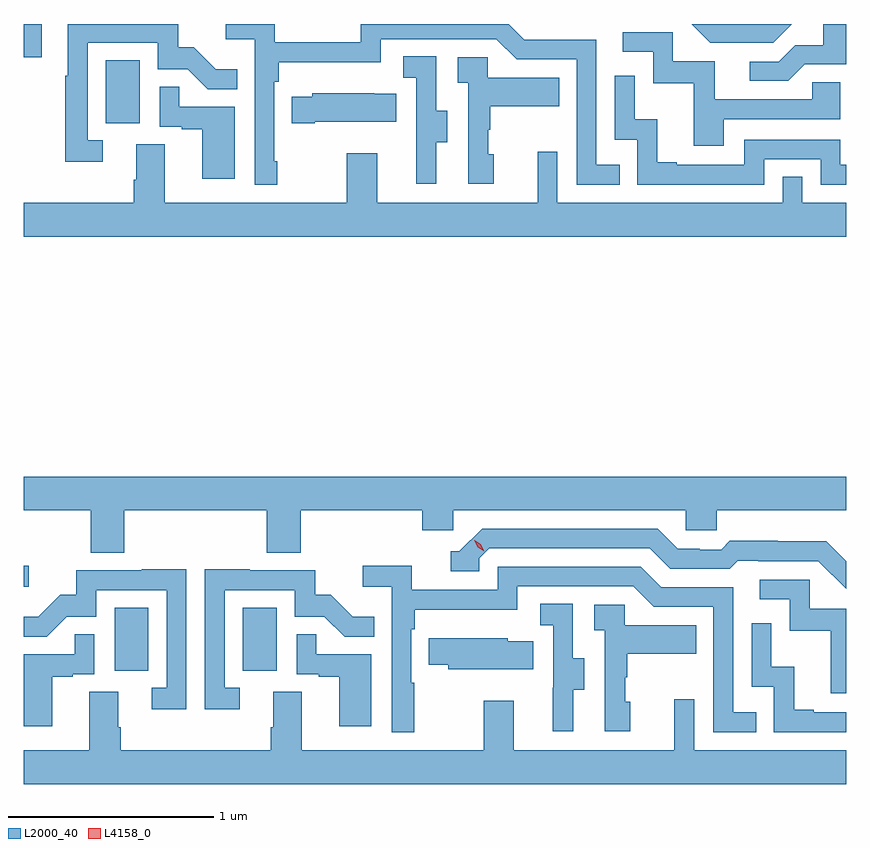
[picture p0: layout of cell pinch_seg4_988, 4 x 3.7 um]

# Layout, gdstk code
import gdstk
lib = gdstk.Library(unit=1e-6, precision=1e-09)
def R(c, l, rs):  # rectangles x0, y0, x1, y1
    for r in rs: c.add(gdstk.rectangle(r[:2], r[2:], *l))
def P(c, l, *ps):  # polygons
    for p in ps: c.add(gdstk.Polygon(p, *l))
L2000_40 = (2000, 40)
L4158_0 = (4158, 0)

pinch_seg4_988 = lib.new_cell('pinch_seg4_988')
R(pinch_seg4_988, L2000_40, [(793.844,777.39,794.008,777.697), (794.468,777.39,794.632,777.697), (793.403,777.8,793.426,777.902), (793.802,780.054,793.966,780.361), (793.403,780.375,793.489,780.538)])
P(pinch_seg4_988, L2000_40, [(794.635,779.869),(794.622,779.869),(794.622,780.257),(794.642,780.257),(794.642,780.353),(795.138,780.353),(795.138,780.465),(795.702,780.465),(795.801,780.366),(796.092,780.366),(796.092,779.757),(796.301,779.757),(796.301,779.853),(796.188,779.853),(796.188,780.462),(795.838,780.462),(795.762,780.538),(795.042,780.538),(795.042,780.45),(794.624,780.45),(794.624,780.538),(794.385,780.538),(794.385,780.464),(794.526,780.464),(794.526,779.757),(794.635,779.757)],
  [(797.203,780.342),(797.403,780.342),(797.403,780.538),(797.291,780.538),(797.291,780.434),(797.156,780.434),(797.076,780.354),(796.935,780.354),(796.935,780.261),(797.122,780.261)],
  [(793.786,779.973),(793.713,779.973),(793.713,780.447),(794.055,780.447),(794.055,780.318),(794.199,780.318),(794.297,780.22),(794.441,780.22),(794.441,780.319),(794.337,780.319),(794.23,780.426),(794.154,780.426),(794.154,780.538),(793.617,780.538),(793.617,780.287),(793.605,780.287),(793.605,779.868),(793.786,779.868)],
  [(797.14,780.538),(796.652,780.538),(796.743,780.447),(797.049,780.447)],
  [(796.807,780.075),(797.376,780.075),(797.376,780.255),(797.239,780.255),(797.239,780.171),(796.765,780.171),(796.765,780.357),(796.56,780.357),(796.56,780.498),(796.317,780.498),(796.317,780.402),(796.464,780.402),(796.464,780.249),(796.663,780.249),(796.663,779.946),(796.807,779.946)],
  [(795.409,779.962),(795.463,779.962),(795.463,780.117),(795.408,780.117),(795.408,780.38),(795.249,780.38),(795.249,780.277),(795.312,780.277),(795.312,779.973),(795.311,779.973),(795.311,779.76),(795.409,779.76)],
  [(795.688,779.904),(795.663,779.904),(795.663,780.023),(795.673,780.023),(795.673,780.137),(796.007,780.137),(796.007,780.277),(795.66,780.277),(795.66,780.375),(795.513,780.375),(795.513,780.251),(795.564,780.251),(795.564,779.76),(795.688,779.76)],
  [(797.004,779.88),(797.28,779.88),(797.28,779.757),(797.403,779.757),(797.403,779.853),(797.376,779.853),(797.376,779.976),(796.908,779.976),(796.908,779.853),(796.579,779.853),(796.579,779.866),(796.484,779.866),(796.484,780.074),(796.374,780.074),(796.374,780.286),(796.278,780.286),(796.278,779.976),(796.386,779.976),(796.386,779.757),(797.004,779.757)],
  [(794.428,780.135),(794.159,780.135),(794.159,780.233),(794.064,780.233),(794.064,780.039),(794.171,780.039),(794.171,780.027),(794.27,780.027),(794.27,779.784),(794.428,779.784)],
  [(794.818,780.062),(795.215,780.062),(795.215,780.199),(795.107,780.199),(795.107,780.202),(794.805,780.202),(794.805,780.184),(794.707,780.184),(794.707,780.055),(794.818,780.055)],
  [(797.403,779.668),(797.19,779.668),(797.19,779.795),(797.094,779.795),(797.094,779.668),(795.999,779.668),(795.999,779.917),(795.902,779.917),(795.902,779.668),(795.121,779.668),(795.121,779.908),(794.974,779.908),(794.974,779.668),(794.089,779.668),(794.089,779.954),(793.949,779.954),(793.949,779.78),(793.937,779.78),(793.937,779.668),(793.403,779.668),(793.403,779.504),(797.403,779.504)],
  [(793.892,778.172),(794.585,778.172),(794.585,777.964),(794.75,777.964),(794.75,778.172),(795.341,778.172),(795.341,778.074),(795.492,778.074),(795.492,778.172),(796.623,778.172),(796.623,778.074),(796.773,778.074),(796.773,778.172),(797.403,778.172),(797.403,778.336),(793.403,778.336),(793.403,778.172),(793.727,778.172),(793.727,777.964),(793.892,777.964)],
  [(797.403,777.924),(797.306,778.021),(797.07,778.021),(797.07,778.024),(796.837,778.024),(796.795,777.981),(796.692,777.981),(796.692,777.984),(796.585,777.984),(796.486,778.083),(795.633,778.083),(795.522,777.972),(795.479,777.972),(795.479,777.876),(795.618,777.876),(795.618,777.939),(795.666,777.987),(796.449,777.987),(796.548,777.888),(796.837,777.888),(796.876,777.927),(796.975,777.927),(796.975,777.924),(797.268,777.924),(797.403,777.789)],
  [(795.301,777.332),(795.288,777.332),(795.288,777.593),(795.305,777.593),(795.305,777.689),(795.804,777.689),(795.804,777.801),(796.368,777.801),(796.467,777.702),(796.758,777.702),(796.758,777.093),(796.967,777.093),(796.967,777.189),(796.854,777.189),(796.854,777.798),(796.504,777.798),(796.405,777.897),(795.708,777.897),(795.708,777.786),(795.29,777.786),(795.29,777.902),(795.051,777.902),(795.051,777.8),(795.192,777.8),(795.192,777.093),(795.301,777.093)],
  [(794.193,777.884),(793.975,777.884),(793.975,777.879),(793.657,777.879),(793.657,777.762),(793.58,777.762),(793.473,777.655),(793.403,777.655),(793.403,777.556),(793.513,777.556),(793.611,777.654),(793.755,777.654),(793.755,777.783),(794.097,777.783),(794.097,777.309),(794.025,777.309),(794.025,777.204),(794.193,777.204)],
  [(794.452,777.309),(794.379,777.309),(794.379,777.783),(794.721,777.783),(794.721,777.654),(794.865,777.654),(794.963,777.556),(795.107,777.556),(795.107,777.655),(795.003,777.655),(794.896,777.762),(794.82,777.762),(794.82,777.879),(794.501,777.879),(794.501,777.884),(794.283,777.884),(794.283,777.204),(794.452,777.204)],
  [(797.403,777.693),(797.226,777.693),(797.226,777.834),(796.983,777.834),(796.983,777.738),(797.13,777.738),(797.13,777.585),(797.329,777.585),(797.329,777.282),(797.403,777.282)],
  [(796.075,777.298),(796.129,777.298),(796.129,777.453),(796.074,777.453),(796.074,777.716),(795.915,777.716),(795.915,777.613),(795.978,777.613),(795.978,777.309),(795.977,777.309),(795.977,777.096),(796.075,777.096)],
  [(796.354,777.24),(796.329,777.24),(796.329,777.359),(796.339,777.359),(796.339,777.473),(796.673,777.473),(796.673,777.613),(796.326,777.613),(796.326,777.711),(796.179,777.711),(796.179,777.587),(796.23,777.587),(796.23,777.096),(796.354,777.096)],
  [(797.403,777.189),(797.245,777.189),(797.245,777.202),(797.15,777.202),(797.15,777.41),(797.04,777.41),(797.04,777.622),(796.944,777.622),(796.944,777.312),(797.052,777.312),(797.052,777.093),(797.403,777.093)],
  [(793.54,777.363),(793.64,777.363),(793.64,777.375),(793.746,777.375),(793.746,777.569),(793.651,777.569),(793.651,777.471),(793.403,777.471),(793.403,777.12),(793.54,777.12)],
  [(795.094,777.471),(794.825,777.471),(794.825,777.569),(794.73,777.569),(794.73,777.375),(794.837,777.375),(794.837,777.363),(794.936,777.363),(794.936,777.12),(795.094,777.12)],
  [(795.881,777.535),(795.756,777.535),(795.756,777.55),(795.484,777.55),(795.484,777.549),(795.373,777.549),(795.373,777.421),(795.467,777.421),(795.467,777.398),(795.881,777.398)],
  [(797.403,777.004),(796.665,777.004),(796.665,777.253),(796.568,777.253),(796.568,777.004),(795.787,777.004),(795.787,777.244),(795.64,777.244),(795.64,777.004),(794.755,777.004),(794.755,777.29),(794.615,777.29),(794.615,777.116),(794.603,777.116),(794.603,777.004),(793.874,777.004),(793.874,777.116),(793.861,777.116),(793.861,777.29),(793.721,777.29),(793.721,777.004),(793.403,777.004),(793.403,776.84),(797.403,776.84)])
P(pinch_seg4_988, L4158_0, [(795.642,777.973),(795.611,777.993),(795.595,778.025),(795.595,778.025),(795.596,778.025),(795.626,778.006),(795.642,777.973),(795.642,777.973)])

lib.write_gds('pinch_seg4_988.gds')
